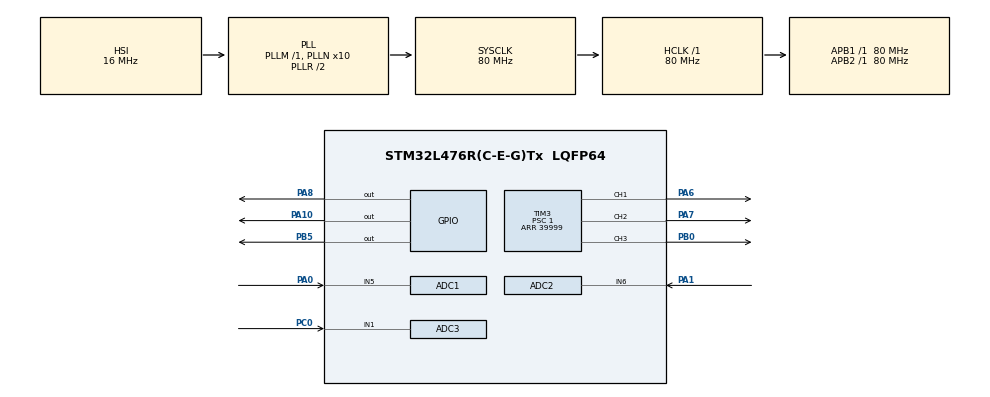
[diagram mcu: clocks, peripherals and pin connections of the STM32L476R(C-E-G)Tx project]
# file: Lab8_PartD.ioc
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ADC1.Channel-0\#ChannelRegularConversion=ADC_CHANNEL_5
ADC1.NbrOfConversionFlag=1
ADC1.OffsetNumber-0\#ChannelRegularConversion=ADC_OFFSET_NONE
ADC1.Rank-0\#ChannelRegularConversion=1
ADC1.SamplingTime-0\#ChannelRegularConversion=ADC_SAMPLETIME_2CYCLES_5
ADC1.master=1
ADC2.Channel-0\#ChannelRegularConversion=ADC_CHANNEL_6
ADC2.NbrOfConversionFlag=1
ADC2.OffsetNumber-0\#ChannelRegularConversion=ADC_OFFSET_NONE
ADC2.Rank-0\#ChannelRegularConversion=1
ADC2.SamplingTime-0\#ChannelRegularConversion=ADC_SAMPLETIME_2CYCLES_5
ADC3.Channel-0\#ChannelRegularConversion=ADC_CHANNEL_1
ADC3.NbrOfConversionFlag=1
ADC3.OffsetNumber-0\#ChannelRegularConversion=ADC_OFFSET_NONE
ADC3.Rank-0\#ChannelRegularConversion=1
ADC3.SamplingTime-0\#ChannelRegularConversion=ADC_SAMPLETIME_2CYCLES_5
Mcu.Family=STM32L4
Mcu.Name=STM32L476R(C-E-G)Tx
Mcu.Package=LQFP64
NVIC.PriorityGroup=NVIC_PRIORITYGROUP_4
NVIC.TIM1_UP_TIM16_IRQn=true\:0\:0\:false\:false\:true\:true\:true\:true
PA0.Signal=ADCx_IN5
PA1.Signal=ADCx_IN6
PA10.Signal=GPIO_Output
PA13\ (JTMS-SWDIO).GPIO_Label=TMS
PA13\ (JTMS-SWDIO).Mode=Serial_Wire
PA13\ (JTMS-SWDIO).Signal=SYS_JTMS-SWDIO
PA14\ (JTCK-SWCLK).GPIO_Label=TCK
PA14\ (JTCK-SWCLK).Mode=Serial_Wire
PA14\ (JTCK-SWCLK).Signal=SYS_JTCK-SWCLK
PA6.Signal=S_TIM3_CH1
PA7.Signal=S_TIM3_CH2
PA8.Signal=GPIO_Output
PB0.Signal=S_TIM3_CH3
PB3\ (JTDO-TRACESWO).GPIO_Label=SWO
PB3\ (JTDO-TRACESWO).Signal=SYS_JTDO-SWO
PB5.Signal=GPIO_Output
PC0.Signal=ADCx_IN1
PC14-OSC32_IN\ (PC14).Mode=LSE-External-Oscillator
PC14-OSC32_IN\ (PC14).Signal=RCC_OSC32_IN
PC15-OSC32_OUT\ (PC15).Mode=LSE-External-Oscillator
PC15-OSC32_OUT\ (PC15).Signal=RCC_OSC32_OUT
PH0-OSC_IN\ (PH0).Signal=RCC_OSC_IN
PH1-OSC_OUT\ (PH1).Signal=RCC_OSC_OUT
ProjectManager.HeapSize=0x200
ProjectManager.StackSize=0x400
ProjectManager.TargetToolchain=STM32CubeIDE
RCC.ADCFreq_Value=64000000
RCC.AHBFreq_Value=80000000
RCC.APB1Freq_Value=80000000
RCC.APB1TimFreq_Value=80000000
RCC.APB2Freq_Value=80000000
RCC.APB2TimFreq_Value=80000000
RCC.CortexFreq_Value=80000000
RCC.HCLKFreq_Value=80000000
RCC.HSE_VALUE=8000000
RCC.HSI_VALUE=16000000
RCC.MSI_VALUE=4000000
RCC.PLLN=10
RCC.PLLSourceVirtual=RCC_PLLSOURCE_HSI
RCC.PREFETCH_ENABLE=1
RCC.SYSCLKFreq_VALUE=80000000
RCC.SYSCLKSource=RCC_SYSCLKSOURCE_PLLCLK
RCC.USBFreq_Value=64000000
RCC.VCOOutputFreq_Value=160000000
SH.ADCx_IN1.0=ADC3_IN1,IN1-Single-Ended
SH.ADCx_IN5.0=ADC1_IN5,IN5-Single-Ended
SH.ADCx_IN6.0=ADC1_IN6
SH.ADCx_IN6.1=ADC2_IN6,IN6-Single-Ended
SH.S_TIM3_CH1.0=TIM3_CH1,PWM Generation1 CH1
SH.S_TIM3_CH2.0=TIM3_CH2,PWM Generation2 CH2
SH.S_TIM3_CH3.0=TIM3_CH3,PWM Generation3 CH3
TIM16.Period=999
TIM16.Prescaler=7999
TIM3.AutoReloadPreload=TIM_AUTORELOAD_PRELOAD_ENABLE
TIM3.Channel-PWM\ Generation1\ CH1=TIM_CHANNEL_1
TIM3.Channel-PWM\ Generation2\ CH2=TIM_CHANNEL_2
TIM3.Channel-PWM\ Generation3\ CH3=TIM_CHANNEL_3
TIM3.Period=39999
TIM3.Prescaler=1
VP_TIM16_VS_ClockSourceINT.Mode=Enable_Timer
VP_TIM3_VS_ClockSourceINT.Mode=Internal
board=NUCLEO-L476RG

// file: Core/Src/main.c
/* USER CODE BEGIN Header */
/**
  ******************************************************************************
  * @file           : main.c
  * @brief          : Main program body
  ******************************************************************************
  * @attention
  *
  * Copyright (c) 2023 STMicroelectronics.
  * All rights reserved.
  *
  * This software is licensed under terms that can be found in the LICENSE file
  * in the root directory of this software component.
  * If no LICENSE file comes with this software, it is provided AS-IS.
  *
  ******************************************************************************
  */
/* USER CODE END Header */
#include "main.h"

ADC_HandleTypeDef hadc1;
ADC_HandleTypeDef hadc2;
ADC_HandleTypeDef hadc3;

TIM_HandleTypeDef htim3;
TIM_HandleTypeDef htim16;

void SystemClock_Config(void);
void PeriphCommonClock_Config(void);
static void MX_GPIO_Init(void);
static void MX_TIM16_Init(void);
static void MX_ADC1_Init(void);
static void MX_ADC2_Init(void);
static void MX_ADC3_Init(void);
static void MX_TIM3_Init(void);

int main(void)
{

  /* MCU Configuration--------------------------------------------------------*/

  /* Reset of all peripherals, Initializes the Flash interface and the Systick. */
  HAL_Init();

  /* Configure the system clock */
  SystemClock_Config();

/* Configure the peripherals common clocks */
  PeriphCommonClock_Config();

  /* Initialize all configured peripherals */
  MX_GPIO_Init();
  MX_TIM16_Init();
  MX_ADC1_Init();
  MX_ADC2_Init();
  MX_ADC3_Init();
  MX_TIM3_Init();
  /* USER CODE BEGIN 2 */

  HAL_TIM_Base_Start_IT(&htim16); // Start Timer16
  HAL_TIM_PWM_Start(&htim3, TIM_CHANNEL_1); // start Timer3 PWM on Channel 1
  HAL_TIM_PWM_Start(&htim3, TIM_CHANNEL_2); // start Timer3 PWM on Channel 2
  HAL_TIM_PWM_Start(&htim3, TIM_CHANNEL_3); // start Timer3 PWM on Channel 3

  /* USER CODE END 2 */

  /* Infinite loop */
  while (1)
  {

  }
}

void SystemClock_Config(void)
{
  RCC_OscInitTypeDef RCC_OscInitStruct = {0};
  RCC_ClkInitTypeDef RCC_ClkInitStruct = {0};

  /** Configure the main internal regulator output voltage
  */
  if (HAL_PWREx_ControlVoltageScaling(PWR_REGULATOR_VOLTAGE_SCALE1) != HAL_OK)
  {
    Error_Handler();
  }

  /** Initializes the RCC Oscillators according to the specified parameters
  * in the RCC_OscInitTypeDef structure.
  */
  RCC_OscInitStruct.OscillatorType = RCC_OSCILLATORTYPE_HSI;
  RCC_OscInitStruct.HSIState = RCC_HSI_ON;
  RCC_OscInitStruct.HSICalibrationValue = RCC_HSICALIBRATION_DEFAULT;
  RCC_OscInitStruct.PLL.PLLState = RCC_PLL_ON;
  RCC_OscInitStruct.PLL.PLLSource = RCC_PLLSOURCE_HSI;
  RCC_OscInitStruct.PLL.PLLM = 1;
  RCC_OscInitStruct.PLL.PLLN = 10;
  RCC_OscInitStruct.PLL.PLLP = RCC_PLLP_DIV7;
  RCC_OscInitStruct.PLL.PLLQ = RCC_PLLQ_DIV2;
  RCC_OscInitStruct.PLL.PLLR = RCC_PLLR_DIV2;
  if (HAL_RCC_OscConfig(&RCC_OscInitStruct) != HAL_OK)
  {
    Error_Handler();
  }

  /** Initializes the CPU, AHB and APB buses clocks
  */
  RCC_ClkInitStruct.ClockType = RCC_CLOCKTYPE_HCLK|RCC_CLOCKTYPE_SYSCLK
                              |RCC_CLOCKTYPE_PCLK1|RCC_CLOCKTYPE_PCLK2;
  RCC_ClkInitStruct.SYSCLKSource = RCC_SYSCLKSOURCE_PLLCLK;
  RCC_ClkInitStruct.AHBCLKDivider = RCC_SYSCLK_DIV1;
  RCC_ClkInitStruct.APB1CLKDivider = RCC_HCLK_DIV1;
  RCC_ClkInitStruct.APB2CLKDivider = RCC_HCLK_DIV1;

  if (HAL_RCC_ClockConfig(&RCC_ClkInitStruct, FLASH_LATENCY_4) != HAL_OK)
  {
    Error_Handler();
  }
}

void PeriphCommonClock_Config(void)
{
  RCC_PeriphCLKInitTypeDef PeriphClkInit = {0};

  /** Initializes the peripherals clock
  */
  PeriphClkInit.PeriphClockSelection = RCC_PERIPHCLK_ADC;
  PeriphClkInit.AdcClockSelection = RCC_ADCCLKSOURCE_PLLSAI1;
  PeriphClkInit.PLLSAI1.PLLSAI1Source = RCC_PLLSOURCE_HSI;
  PeriphClkInit.PLLSAI1.PLLSAI1M = 1;
  PeriphClkInit.PLLSAI1.PLLSAI1N = 8;
  PeriphClkInit.PLLSAI1.PLLSAI1P = RCC_PLLP_DIV7;
  PeriphClkInit.PLLSAI1.PLLSAI1Q = RCC_PLLQ_DIV2;
  PeriphClkInit.PLLSAI1.PLLSAI1R = RCC_PLLR_DIV2;
  PeriphClkInit.PLLSAI1.PLLSAI1ClockOut = RCC_PLLSAI1_ADC1CLK;
  if (HAL_RCCEx_PeriphCLKConfig(&PeriphClkInit) != HAL_OK)
  {
    Error_Handler();
  }
}

static void MX_ADC1_Init(void)
{

  ADC_MultiModeTypeDef multimode = {0};
  ADC_ChannelConfTypeDef sConfig = {0};

  /** Common config
  */
  hadc1.Instance = ADC1;
  hadc1.Init.ClockPrescaler = ADC_CLOCK_ASYNC_DIV1;
  hadc1.Init.Resolution = ADC_RESOLUTION_12B;
  hadc1.Init.DataAlign = ADC_DATAALIGN_RIGHT;
  hadc1.Init.ScanConvMode = ADC_SCAN_DISABLE;
  hadc1.Init.EOCSelection = ADC_EOC_SINGLE_CONV;
  hadc1.Init.LowPowerAutoWait = DISABLE;
  hadc1.Init.ContinuousConvMode = DISABLE;
  hadc1.Init.NbrOfConversion = 1;
  hadc1.Init.DiscontinuousConvMode = DISABLE;
  hadc1.Init.ExternalTrigConv = ADC_SOFTWARE_START;
  hadc1.Init.ExternalTrigConvEdge = ADC_EXTERNALTRIGCONVEDGE_NONE;
  hadc1.Init.DMAContinuousRequests = DISABLE;
  hadc1.Init.Overrun = ADC_OVR_DATA_PRESERVED;
  hadc1.Init.OversamplingMode = DISABLE;
  if (HAL_ADC_Init(&hadc1) != HAL_OK)
  {
    Error_Handler();
  }

  /** Configure the ADC multi-mode
  */
  multimode.Mode = ADC_MODE_INDEPENDENT;
  if (HAL_ADCEx_MultiModeConfigChannel(&hadc1, &multimode) != HAL_OK)
  {
    Error_Handler();
  }

  /** Configure Regular Channel
  */
  sConfig.Channel = ADC_CHANNEL_5;
  sConfig.Rank = ADC_REGULAR_RANK_1;
  sConfig.SamplingTime = ADC_SAMPLETIME_2CYCLES_5;
  sConfig.SingleDiff = ADC_SINGLE_ENDED;
  sConfig.OffsetNumber = ADC_OFFSET_NONE;
  sConfig.Offset = 0;
  if (HAL_ADC_ConfigChannel(&hadc1, &sConfig) != HAL_OK)
  {
    Error_Handler();
  }

}

static void MX_ADC2_Init(void)
{

  ADC_ChannelConfTypeDef sConfig = {0};

  /** Common config
  */
  hadc2.Instance = ADC2;
  hadc2.Init.ClockPrescaler = ADC_CLOCK_ASYNC_DIV1;
  hadc2.Init.Resolution = ADC_RESOLUTION_12B;
  hadc2.Init.DataAlign = ADC_DATAALIGN_RIGHT;
  hadc2.Init.ScanConvMode = ADC_SCAN_DISABLE;
  hadc2.Init.EOCSelection = ADC_EOC_SINGLE_CONV;
  hadc2.Init.LowPowerAutoWait = DISABLE;
  hadc2.Init.ContinuousConvMode = DISABLE;
  hadc2.Init.NbrOfConversion = 1;
  hadc2.Init.DiscontinuousConvMode = DISABLE;
  hadc2.Init.ExternalTrigConv = ADC_SOFTWARE_START;
  hadc2.Init.ExternalTrigConvEdge = ADC_EXTERNALTRIGCONVEDGE_NONE;
  hadc2.Init.DMAContinuousRequests = DISABLE;
  hadc2.Init.Overrun = ADC_OVR_DATA_PRESERVED;
  hadc2.Init.OversamplingMode = DISABLE;
  if (HAL_ADC_Init(&hadc2) != HAL_OK)
  {
    Error_Handler();
  }

  /** Configure Regular Channel
  */
  sConfig.Channel = ADC_CHANNEL_6;
  sConfig.Rank = ADC_REGULAR_RANK_1;
  sConfig.SamplingTime = ADC_SAMPLETIME_2CYCLES_5;
  sConfig.SingleDiff = ADC_SINGLE_ENDED;
  sConfig.OffsetNumber = ADC_OFFSET_NONE;
  sConfig.Offset = 0;
  if (HAL_ADC_ConfigChannel(&hadc2, &sConfig) != HAL_OK)
  {
    Error_Handler();
  }

}

static void MX_ADC3_Init(void)
{

  ADC_ChannelConfTypeDef sConfig = {0};

  /** Common config
  */
  hadc3.Instance = ADC3;
  hadc3.Init.ClockPrescaler = ADC_CLOCK_ASYNC_DIV1;
  hadc3.Init.Resolution = ADC_RESOLUTION_12B;
  hadc3.Init.DataAlign = ADC_DATAALIGN_RIGHT;
  hadc3.Init.ScanConvMode = ADC_SCAN_DISABLE;
  hadc3.Init.EOCSelection = ADC_EOC_SINGLE_CONV;
  hadc3.Init.LowPowerAutoWait = DISABLE;
  hadc3.Init.ContinuousConvMode = DISABLE;
  hadc3.Init.NbrOfConversion = 1;
  hadc3.Init.DiscontinuousConvMode = DISABLE;
  hadc3.Init.ExternalTrigConv = ADC_SOFTWARE_START;
  hadc3.Init.ExternalTrigConvEdge = ADC_EXTERNALTRIGCONVEDGE_NONE;
  hadc3.Init.DMAContinuousRequests = DISABLE;
  hadc3.Init.Overrun = ADC_OVR_DATA_PRESERVED;
  hadc3.Init.OversamplingMode = DISABLE;
  if (HAL_ADC_Init(&hadc3) != HAL_OK)
  {
    Error_Handler();
  }

  /** Configure Regular Channel
  */
  sConfig.Channel = ADC_CHANNEL_1;
  sConfig.Rank = ADC_REGULAR_RANK_1;
  sConfig.SamplingTime = ADC_SAMPLETIME_2CYCLES_5;
  sConfig.SingleDiff = ADC_SINGLE_ENDED;
  sConfig.OffsetNumber = ADC_OFFSET_NONE;
  sConfig.Offset = 0;
  if (HAL_ADC_ConfigChannel(&hadc3, &sConfig) != HAL_OK)
  {
    Error_Handler();
  }

}

static void MX_TIM3_Init(void)
{

  TIM_ClockConfigTypeDef sClockSourceConfig = {0};
  TIM_MasterConfigTypeDef sMasterConfig = {0};
  TIM_OC_InitTypeDef sConfigOC = {0};

  htim3.Instance = TIM3;
  htim3.Init.Prescaler = 1;
  htim3.Init.CounterMode = TIM_COUNTERMODE_UP;
  htim3.Init.Period = 39999;
  htim3.Init.ClockDivision = TIM_CLOCKDIVISION_DIV1;
  htim3.Init.AutoReloadPreload = TIM_AUTORELOAD_PRELOAD_ENABLE;
  if (HAL_TIM_Base_Init(&htim3) != HAL_OK)
  {
    Error_Handler();
  }
  sClockSourceConfig.ClockSource = TIM_CLOCKSOURCE_INTERNAL;
  if (HAL_TIM_ConfigClockSource(&htim3, &sClockSourceConfig) != HAL_OK)
  {
    Error_Handler();
  }
  if (HAL_TIM_PWM_Init(&htim3) != HAL_OK)
  {
    Error_Handler();
  }
  sMasterConfig.MasterOutputTrigger = TIM_TRGO_RESET;
  sMasterConfig.MasterSlaveMode = TIM_MASTERSLAVEMODE_DISABLE;
  if (HAL_TIMEx_MasterConfigSynchronization(&htim3, &sMasterConfig) != HAL_OK)
  {
    Error_Handler();
  }
  sConfigOC.OCMode = TIM_OCMODE_PWM1;
  sConfigOC.Pulse = 0;
  sConfigOC.OCPolarity = TIM_OCPOLARITY_HIGH;
  sConfigOC.OCFastMode = TIM_OCFAST_DISABLE;
  if (HAL_TIM_PWM_ConfigChannel(&htim3, &sConfigOC, TIM_CHANNEL_1) != HAL_OK)
  {
    Error_Handler();
  }
  if (HAL_TIM_PWM_ConfigChannel(&htim3, &sConfigOC, TIM_CHANNEL_2) != HAL_OK)
  {
    Error_Handler();
  }
  if (HAL_TIM_PWM_ConfigChannel(&htim3, &sConfigOC, TIM_CHANNEL_3) != HAL_OK)
  {
    Error_Handler();
  }
  HAL_TIM_MspPostInit(&htim3);

}

static void MX_TIM16_Init(void)
{

  htim16.Instance = TIM16;
  htim16.Init.Prescaler = 7999;
  htim16.Init.CounterMode = TIM_COUNTERMODE_UP;
  htim16.Init.Period = 999;
  htim16.Init.ClockDivision = TIM_CLOCKDIVISION_DIV1;
  htim16.Init.RepetitionCounter = 0;
  htim16.Init.AutoReloadPreload = TIM_AUTORELOAD_PRELOAD_DISABLE;
  if (HAL_TIM_Base_Init(&htim16) != HAL_OK)
  {
    Error_Handler();
  }

}

static void MX_GPIO_Init(void)
{
  GPIO_InitTypeDef GPIO_InitStruct = {0};

  /* GPIO Ports Clock Enable */
  __HAL_RCC_GPIOC_CLK_ENABLE();
  __HAL_RCC_GPIOH_CLK_ENABLE();
  __HAL_RCC_GPIOA_CLK_ENABLE();
  __HAL_RCC_GPIOB_CLK_ENABLE();

  /*Configure GPIO pin Output Level */
  HAL_GPIO_WritePin(GPIOA, GPIO_PIN_8|GPIO_PIN_10, GPIO_PIN_RESET);

  /*Configure GPIO pin Output Level */
  HAL_GPIO_WritePin(GPIOB, GPIO_PIN_5, GPIO_PIN_RESET);

  /*Configure GPIO pins : PA8 PA10 */
  GPIO_InitStruct.Pin = GPIO_PIN_8|GPIO_PIN_10;
  GPIO_InitStruct.Mode = GPIO_MODE_OUTPUT_PP;
  GPIO_InitStruct.Pull = GPIO_NOPULL;
  GPIO_InitStruct.Speed = GPIO_SPEED_FREQ_LOW;
  HAL_GPIO_Init(GPIOA, &GPIO_InitStruct);

  /*Configure GPIO pin : PB5 */
  GPIO_InitStruct.Pin = GPIO_PIN_5;
  GPIO_InitStruct.Mode = GPIO_MODE_OUTPUT_PP;
  GPIO_InitStruct.Pull = GPIO_NOPULL;
  GPIO_InitStruct.Speed = GPIO_SPEED_FREQ_LOW;
  HAL_GPIO_Init(GPIOB, &GPIO_InitStruct);

}

/* USER CODE BEGIN 4 */

// Callback: timer has rolled over
void HAL_TIM_PeriodElapsedCallback(TIM_HandleTypeDef *htim)
{
 // Check which version of the timer triggered this callback and toggle LED
 if (htim == &htim16)
 {
	 int PWM_PERIOD = 40000;
	 int ADC_RANGE = 4096; // 2^12 (12-bit resolution)
	 // Start ADC Conversions
	 HAL_ADC_Start(&hadc1);
	 HAL_ADC_Start(&hadc2);
	 HAL_ADC_Start(&hadc3);
	 // Wait for ADC conversions to complete
	 HAL_ADC_PollForConversion(&hadc1, HAL_MAX_DELAY);
	 HAL_ADC_PollForConversion(&hadc2, HAL_MAX_DELAY);
	 HAL_ADC_PollForConversion(&hadc3, HAL_MAX_DELAY);
	 // Read ADC values
	 uint16_t knob_measurement = HAL_ADC_GetValue(&hadc1);
	 uint16_t xjoy_measurement = HAL_ADC_GetValue(&hadc2);
	 uint16_t yjoy_measurement = HAL_ADC_GetValue(&hadc3);
	 // Convert ADC levels to a fraction of total
	 float knob_value = ((float) knob_measurement) / ADC_RANGE;
	 float xjoy_value = ((float) xjoy_measurement) / ADC_RANGE;
	 float yjoy_value = ((float) yjoy_measurement) / ADC_RANGE;
	 // Write the PWM duty cycle values for the tri-color RGB LED
	 TIM3->CCR1 = (int) (knob_value * PWM_PERIOD); // red
	 TIM3->CCR2 = (int) (xjoy_value * PWM_PERIOD); // green
	 TIM3->CCR3 = (int) (yjoy_value * PWM_PERIOD); // blue
	 // Use the three single-color LEDs as the three
	 // most-significant bits of the knob measurement
	 // PA10:	bit 11
	 // PB5:	bit 10
	 // PA8:	bit 9
	 // 1110 0000 0000
	 int bits = knob_measurement >> 9;
	 int bit11 = (bits & 0b100) >> 2;
	 int bit10 = (bits & 0b010) >> 1;
	 int bit9 = (bits & 0b001) >> 0;

	 if (bit11){
		 HAL_GPIO_WritePin(GPIOA, GPIO_PIN_10, GPIO_PIN_SET);
	 } else {
		 HAL_GPIO_WritePin(GPIOA, GPIO_PIN_10, GPIO_PIN_RESET);
	 }

	 if (bit10){
		 HAL_GPIO_WritePin(GPIOB, GPIO_PIN_5, GPIO_PIN_SET);
	 } else {
		 HAL_GPIO_WritePin(GPIOB, GPIO_PIN_5, GPIO_PIN_RESET);
	 }

	 if (bit9){
		 HAL_GPIO_WritePin(GPIOA, GPIO_PIN_8, GPIO_PIN_SET);
	 } else {
		 HAL_GPIO_WritePin(GPIOA, GPIO_PIN_8, GPIO_PIN_RESET);
	 }
 }
}

/* USER CODE END 4 */

void Error_Handler(void)
{
  __disable_irq();
  while (1)
  {
  }
}
